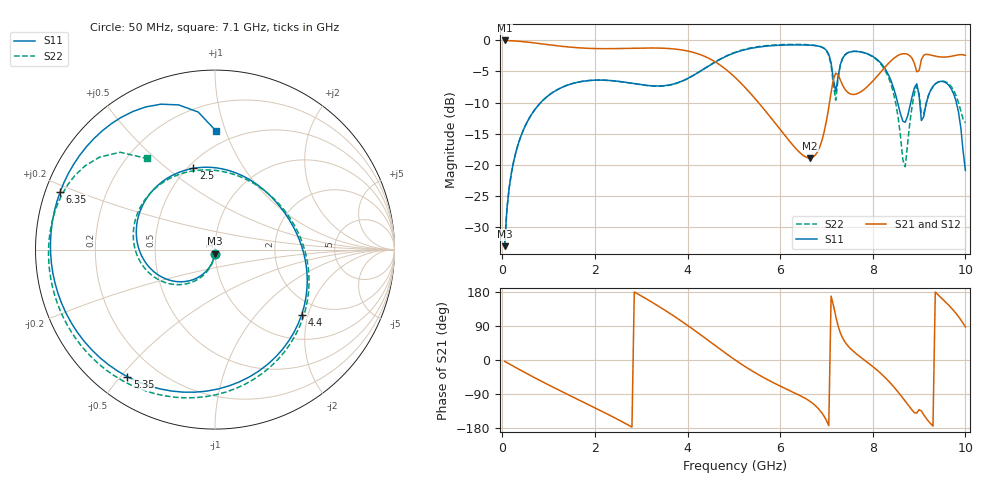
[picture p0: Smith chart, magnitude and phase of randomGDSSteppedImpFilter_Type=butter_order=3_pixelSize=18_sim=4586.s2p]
! freq	dB(S11)	phase(S11)	dB(S12)	phase(S12)
!  dB(S21)	phase(S21)	dB(S22)	phase(S22)
!S-par simulation data
#  GHz  S  DB  R 50
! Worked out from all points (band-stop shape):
!   200 points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, 50 MHz to 10 GHz, reference 50 ohm
!   highest |S21| = -0.01 dB at 50 MHz (marker M1); lowest = -18.9 dB at 6.65 GHz (marker M2)
!   |S21| within 3 dB of the highest: start of sweep to 4.492 GHz; 9.056 GHz to end of sweep (the widest 2 of 3)
!   lowest |S11| = -33.1 dB at 50 MHz (marker M3), VSWR 1.05, Z = 49.8 - j2.19 ohm
!   |S11| at or under -10 dB: start of sweep to 832.2 MHz; 8.537 GHz to 8.821 GHz (284 MHz wide, 3.27 % of centre); 9.805 GHz to end of sweep (the widest 3 of 4)
!   |S22| runs from -33.1 to -0.6 dB; largest |S21 - S12| = 0
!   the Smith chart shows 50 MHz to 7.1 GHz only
!   S11 on the Smith chart (normalised r, x): 50 MHz: 1.00, -0.04; 2.5 GHz: 0.53, +0.62; 4.4 GHz: 1.59, -1.82; 5.35 GHz: 0.10, -0.52; 6.35 GHz: 0.04, +0.18; 7.1 GHz: 0.40, +0.93
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0.05  -33.14 -93.5  -0.01 -3.5  -0.01 -3.5  -33.13 -93.2
0.2  -21.22 -104.6  -0.06 -13.7  -0.06 -13.7  -21.21 -103.3
0.5  -13.69 -126.0  -0.24 -33.8  -0.24 -33.8  -13.68 -122.6
1.75  -6.57 152.6  -1.24 -111.1  -1.24 -111.1  -6.57 164.3
2.5  -6.59 104.9  -1.31 -157.2  -1.31 -157.2  -6.59 120.2
3.4  -7.34 43.7  -1.24 139.9  -1.24 139.9  -7.38 55.8
4.4  -4.38 -37.0  -2.67 55.9  -2.67 55.9  -4.37 -33.6
5.05  -1.91 -98.1  -6.12 -1.7  -6.12 -1.7  -1.84 -89.6
5.35  -1.31 -124.6  -8.45 -25.5  -8.45 -25.5  -1.22 -112.0
6.35  -0.72 159.5  -17.50 -89.1  -17.50 -89.1  -0.64 -172.4
6.65  -0.77 137.5  -18.94 -109.7  -18.94 -109.7  -0.71 170.3
6.7  -0.80 133.6  -18.83 -114.2  -18.83 -114.2  -0.75 167.1
7.1  -3.60 89.5  -8.38 168.5  -8.38 168.5  -3.96 126.7
7.25  -5.87 125.0  -5.54 90.4  -5.54 90.4  -6.26 174.0
7.65  -1.78 86.3  -8.62 15.8  -8.62 15.8  -1.76 136.4
8.35  -5.72 24.3  -3.62 -56.8  -3.62 -56.8  -6.17 77.3
8.7  -13.19 44.3  -2.14 -108.4  -2.14 -108.4  -20.35 123.0
8.95  -6.99 37.8  -5.04 -140.1  -5.04 -140.1  -7.36 128.0
9.05  -12.90 29.6  -3.09 -134.5  -3.09 -134.5  -11.82 113.4
9.25  -8.00 53.3  -2.36 -168.1  -2.36 -168.1  -8.08 133.1
9.75  -8.67 5.5  -2.47 130.0  -2.47 130.0  -8.08 92.9
10  -20.93 45.7  -2.41 87.4  -2.41 87.4  -13.25 114.3
